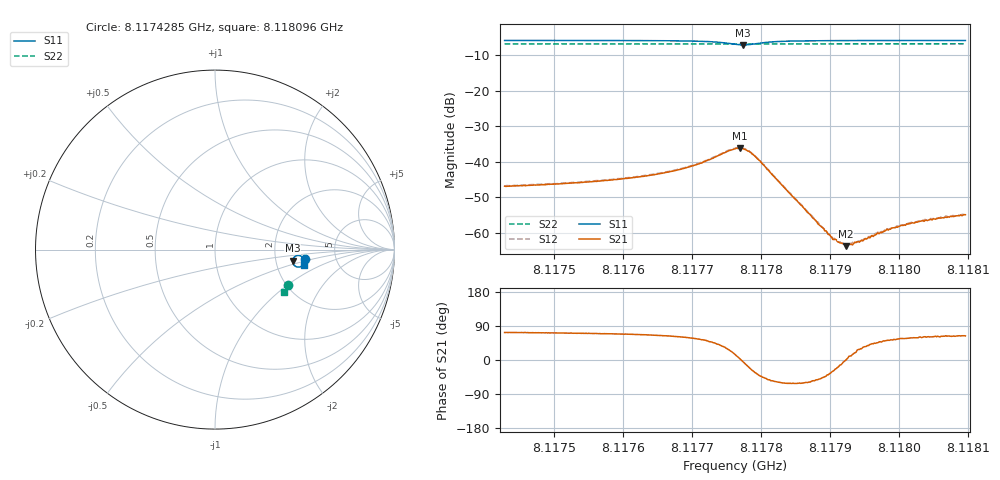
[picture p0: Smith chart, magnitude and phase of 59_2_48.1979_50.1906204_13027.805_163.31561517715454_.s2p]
#  HZ  S  RI  R  50.00
! Rohde & Schwarz Vector Network Analyzer
! Rohde-Schwarz,ZNB20-2Port,1311601062101988,3.16
! Created: UTC 3/20/2024, 11:38:41 AM
! freq[Hz]  re:S11  im:S11  re:S21  im:S21  re:S12  im:S12  re:S22  im:S22
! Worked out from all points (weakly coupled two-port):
!   401 points, 8.1174285 GHz to 8.118096 GHz, reference 50 ohm
!   highest |S21| = -36.23 dB at 8.1177689 GHz (marker M1); lowest = -63.8 dB at 8.1179224 GHz (marker M2)
!   lowest |S11| = -7.2 dB at 8.1177739 GHz (marker M3), VSWR 2.55, Z = 124 - j18.7 ohm
!   |S11| at or under -10 dB: nowhere
!   |S22| runs from -6.9 to -6.9 dB; largest |S21 - S12| = 0.00041
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8.11742845e9  0.5026 -0.0515  0.00136 0.00431  0.00136 0.00436  0.4065 -0.1973
8.11754026e9  0.5006 -0.0625  0.00172 0.00481  0.00177 0.00489  0.4033 -0.2046
8.11761036e9  0.4981 -0.0711  0.00222 0.00545  0.00236 0.00548  0.4011 -0.2092
8.11765208e9  0.4954 -0.0777  0.00285 0.00612  0.00301 0.00616  0.3998 -0.2119
8.11768545e9  0.4908 -0.0846  0.00389 0.0069  0.00402 0.00698  0.3985 -0.2141
8.11771049e9  0.4841 -0.091  0.00535 0.00765  0.00559 0.00773  0.3974 -0.2158
8.11776222e9  0.4382 -0.0838  0.0146 0.00386  0.0148 0.00382  0.394 -0.218
8.1177689e9  0.4327 -0.0717  0.0154 0.00104  0.0156 0.000901  0.3937 -0.218
8.1177739e9  0.4322 -0.0611  0.0152 -0.00128  0.0154 -0.00153  0.3936 -0.2177
8.11778558e9  0.4436 -0.0401  0.0121 -0.00561  0.0121 -0.00573  0.3939 -0.2175
8.1177956e9  0.459 -0.0329  0.00846 -0.00673  0.00854 -0.00691  0.3945 -0.2181
8.11782564e9  0.4869 -0.0412  0.0027 -0.00445  0.00272 -0.00455  0.3947 -0.2204
8.11787403e9  0.4968 -0.0578  0.000941 -0.00135  0.000929 -0.00144  0.3936 -0.2243
8.11790407e9  0.4983 -0.0644  0.000701 -0.000394  0.000696 -0.000419  0.3924 -0.2264
8.11791409e9  0.4984 -0.0663  0.000701 -0.000168  0.000711 -0.000221  0.3922 -0.227
8.11792243e9  0.4985 -0.0675  0.000648 -1.05e-05  0.000691 -6.34e-06  0.3919 -0.2275
8.11793077e9  0.4987 -0.0689  0.000672 0.000135  0.000685 0.000119  0.3918 -0.2282
8.11794413e9  0.4987 -0.071  0.000666 0.000382  0.000699 0.000394  0.3912 -0.2289
8.11796749e9  0.4985 -0.0741  0.000679 0.000684  0.000702 0.000697  0.3904 -0.2304
8.11798585e9  0.4984 -0.0763  0.000695 0.000884  0.000711 0.000872  0.3897 -0.2316
8.11803424e9  0.4981 -0.0817  0.000746 0.00129  0.000753 0.00128  0.3881 -0.2348
8.11809599e9  0.4971 -0.0877  0.000797 0.00161  0.000785 0.00163  0.386 -0.2387
